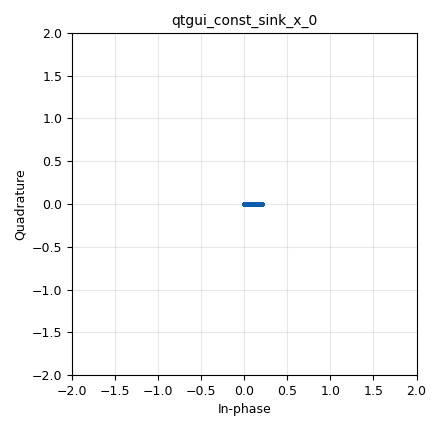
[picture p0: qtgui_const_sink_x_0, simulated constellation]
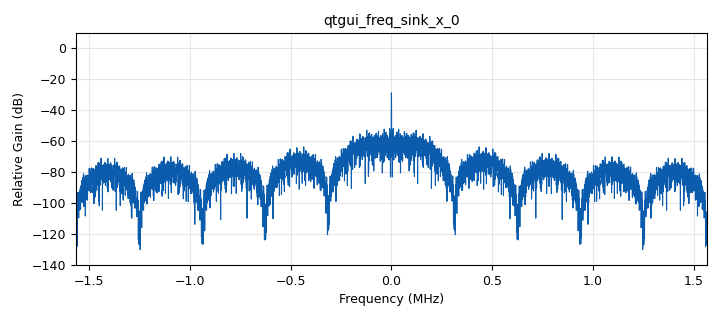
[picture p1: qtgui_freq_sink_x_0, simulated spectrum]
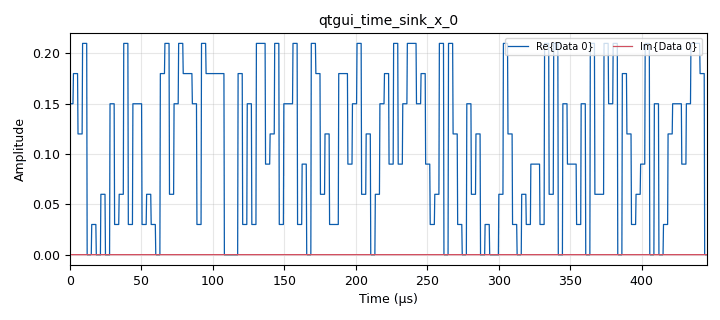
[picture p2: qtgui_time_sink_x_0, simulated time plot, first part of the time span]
options:
  parameters:
    author: KAREN_ESON_JAIRO
    copyright: UIS
    generate_options: qt_gui
    id: ASK
    output_language: python
    title: MODULACION ASK
  states: {}

blocks:
- name: Ac
  id: variable_qtgui_range
  parameters:
    label: Amplitud portadora
    start: '0'
    step: '100e-3'
    stop: '2'
    value: '300e-3'
  states: {}
- name: B
  id: variable_qtgui_range
  parameters:
    label: '#muestras por simbolo'
    rangeType: int
    start: '1'
    step: '1'
    stop: '20'
    value: '10'
  states: {}
- name: Fc
  id: variable_qtgui_range
  parameters:
    label: Frecuencia de la portadora
    start: 50e6
    step: 1e6
    stop: 2200e6
    value: 50e6
  states: {}
- name: GTX
  id: variable_qtgui_range
  parameters:
    label: Ganacia del transmisor
    start: '0'
    step: '1'
    stop: '30'
    value: '0'
  states: {}
- name: Ka
  id: variable_qtgui_range
  parameters:
    start: '0'
    step: '100e-3'
    stop: '2'
    value: '100e-3'
  states: {}
- name: 'No'
  id: variable_qtgui_range
  parameters:
    label: Amplitud Ruido
    start: '0'
    step: '1e-3'
    stop: '30e-3'
    value: '0'
  states: {}
- name: dc
  id: variable_qtgui_range
  parameters:
    label: Nivel de señal modulante
    start: '-8'
    step: '10e-3'
    stop: '8'
    value: '0'
  states: {}
- name: n
  id: variable_qtgui_range
  parameters:
    label: '#bit por simbolo'
    rangeType: int
    start: '1'
    step: '1'
    stop: '4'
    value: '3'
  states: {}
- name: samp_rate
  id: variable
  parameters:
    value: 3.125E6
  states: {}
- name: analog_noise_source_x_0
  id: analog_noise_source_x
  parameters:
    amp: 'No'
    noise_type: analog.GR_GAUSSIAN
    seed: '0'
    type: complex
  states: {}
- name: analog_random_source_x_0
  id: analog_random_source_x
  parameters:
    max: int(math.pow(2,n))
    min: '0'
    num_samps: '1000'
    repeat: 'True'
    type: byte
  states: {}
- name: blocks_add_const_vxx_0
  id: blocks_add_const_vxx
  parameters:
    const: dc
    type: float
  states: {}
- name: blocks_add_xx_0
  id: blocks_add_xx
  parameters:
    type: complex
  states: {}
- name: blocks_float_to_complex_0
  id: blocks_float_to_complex
  parameters: {}
  states: {}
- name: blocks_multiply_const_vxx_0
  id: blocks_multiply_const_vxx
  parameters:
    const: Ka
    type: float
  states: {}
- name: blocks_multiply_const_vxx_1
  id: blocks_multiply_const_vxx
  parameters:
    const: Ac
    type: complex
  states: {}
- name: blocks_null_source_0
  id: blocks_null_source
  parameters:
    type: float
  states: {}
- name: blocks_repeat_0
  id: blocks_repeat
  parameters:
    interp: B
    type: float
  states: {}
- name: blocks_uchar_to_float_0
  id: blocks_uchar_to_float
  parameters: {}
  states: {}
- name: import_0
  id: import
  parameters:
    imports: import math
  states: {}
- name: qtgui_const_sink_x_0
  id: qtgui_const_sink_x
  parameters:
    size: '1024'
    type: complex
  states: {}
- name: qtgui_freq_sink_x_0
  id: qtgui_freq_sink_x
  parameters:
    bw: samp_rate
    fc: '0'
    fftsize: 1024*8
    type: complex
  states: {}
- name: qtgui_time_sink_x_0
  id: qtgui_time_sink_x
  parameters:
    autoscale: 'True'
    grid: 'True'
    size: 1024*8
    srate: samp_rate
    type: complex
  states: {}
- name: uhd_usrp_sink_0
  id: uhd_usrp_sink
  parameters:
    ant0: '"TX/RX"'
    center_freq0: Fc
    gain0: GTX
    samp_rate: samp_rate
    sync: pc_clock
    type: fc32
  states: {}
- name: virtual_sink_0
  id: virtual_sink
  parameters:
    stream_id: m_t
  states: {}
- name: virtual_sink_1
  id: virtual_sink
  parameters:
    stream_id: g(t)
  states: {}
- name: virtual_source_0
  id: virtual_source
  parameters:
    stream_id: m_t
  states: {}
- name: virtual_source_1
  id: virtual_source
  parameters:
    stream_id: g(t)
  states: {}

connections:
- [analog_noise_source_x_0, '0', blocks_add_xx_0, '1']
- [analog_random_source_x_0, '0', blocks_uchar_to_float_0, '0']
- [blocks_add_const_vxx_0, '0', blocks_float_to_complex_0, '0']
- [blocks_add_xx_0, '0', qtgui_const_sink_x_0, '0']
- [blocks_add_xx_0, '0', qtgui_freq_sink_x_0, '0']
- [blocks_add_xx_0, '0', qtgui_time_sink_x_0, '0']
- [blocks_add_xx_0, '0', uhd_usrp_sink_0, '0']
- [blocks_float_to_complex_0, '0', blocks_multiply_const_vxx_1, '0']
- [blocks_multiply_const_vxx_0, '0', blocks_add_const_vxx_0, '0']
- [blocks_multiply_const_vxx_1, '0', virtual_sink_1, '0']
- [blocks_null_source_0, '0', blocks_float_to_complex_0, '1']
- [blocks_repeat_0, '0', virtual_sink_0, '0']
- [blocks_uchar_to_float_0, '0', blocks_repeat_0, '0']
- [virtual_source_0, '0', blocks_multiply_const_vxx_0, '0']
- [virtual_source_1, '0', blocks_add_xx_0, '0']

metadata:
  file_format: 1
